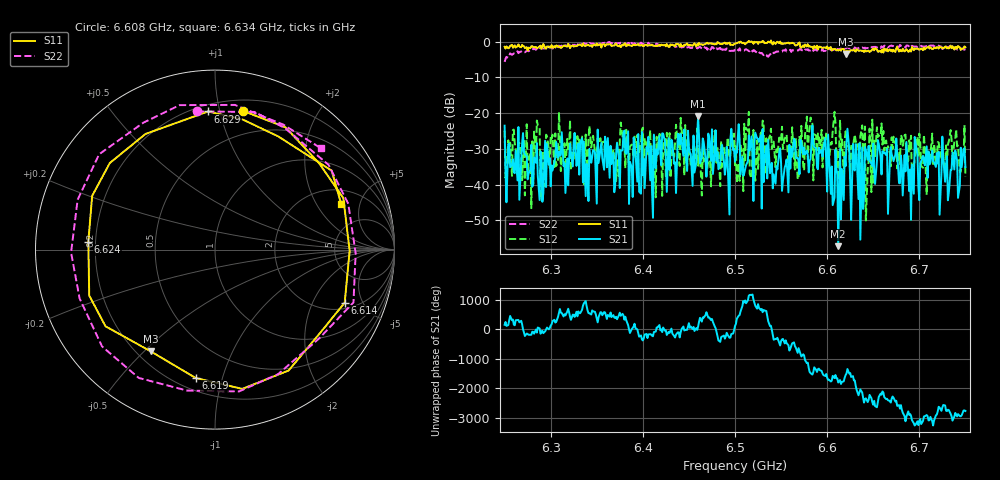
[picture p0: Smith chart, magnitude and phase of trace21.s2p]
# Hz S RI R 50
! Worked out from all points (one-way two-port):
!   401 points, 6.25 GHz to 6.75 GHz, reference 50 ohm
!   highest |S21| = -20.88 dB at 6.46 GHz (marker M1); lowest = -57.3 dB at 6.612 GHz (marker M2)
!   lowest |S11| = -3.5 dB at 6.62 GHz (marker M3), VSWR 5.07, Z = 12.7 - j26.2 ohm
!   |S11| at or under -10 dB: nowhere
!   |S22| runs from -5.7 to 0.2 dB; largest |S21 - S12| = 0.13
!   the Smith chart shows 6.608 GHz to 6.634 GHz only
!   S11 on the Smith chart (normalised r, x): 6.608 GHz: 0.29, +1.18; 6.614 GHz: 2.37, -3.60; 6.619 GHz: 0.27, -0.82; 6.624 GHz: 0.17, +0.03; 6.629 GHz: 0.24, +0.92; 6.634 GHz: 2.87, +3.33
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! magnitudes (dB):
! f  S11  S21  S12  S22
! 6.25 GHz  -1.4  -23.5  -24.9  -5.7
! 6.279 GHz  -1.3  -28.9  -46.6  -2.0
! 6.285 GHz  -1.8  -28.4  -22.1  -2.0
! 6.291 GHz  -1.4  -44.8  -36.0  -1.9
! 6.298 GHz  -1.3  -34.5  -30.0  -1.6
! 6.334 GHz  -1.3  -27.0  -26.6  -0.7
! 6.418 GHz  -0.9  -26.4  -25.9  -1.2
! 6.46 GHz  -1.1  -20.9  -34.7  -1.8
! 6.5 GHz  -0.6  -33.6  -34.6  -2.1
! 6.525 GHz  -0.6  -27.2  -35.6  -2.7
! 6.544 GHz  -0.7  -39.8  -35.2  -2.9
! 6.584 GHz  -1.5  -23.4  -23.0  -2.1
! 6.608 GHz  -2.1  -43.7  -19.6  -2.2
! 6.612 GHz  -2.5  -57.3  -38.7  -2.1
! 6.614 GHz  -2.1  -30.1  -21.9  -2.1
! 6.619 GHz  -2.8  -32.2  -27.7  -1.9
! 6.62 GHz  -3.5  -34.9  -25.1  -1.9
! 6.624 GHz  -3.0  -30.1  -30.8  -1.9
! 6.629 GHz  -2.3  -35.7  -27.5  -1.8
! 6.634 GHz  -2.5  -44.1  -30.0  -1.8
! 6.668 GHz  -2.2  -33.6  -31.2  -1.2
! 6.75 GHz  -1.6  -35.1  -37.9  -2.1
